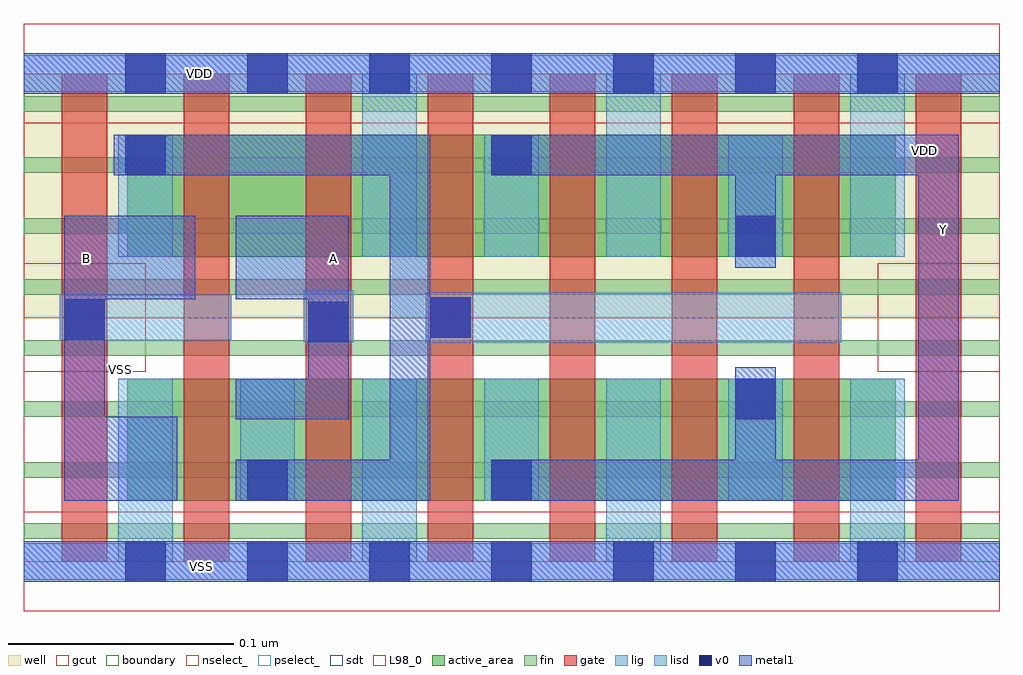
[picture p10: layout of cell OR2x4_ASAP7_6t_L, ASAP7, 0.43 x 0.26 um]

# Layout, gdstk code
import gdstk
lib = gdstk.Library(unit=1e-6, precision=2.5e-10)
def R(c, l, rs):  # rectangles x0, y0, x1, y1
    for r in rs: c.add(gdstk.rectangle(r[:2], r[2:], *l))
def A(c, l, x, y, w, h, nx, ny, dx, dy):  # array of equal rectangles
    R(c, l, [(x+i*dx, y+j*dy, x+i*dx+w, y+j*dy+h) for i in range(nx) for j in range(ny)])
def P(c, l, *ps):  # polygons
    for p in ps: c.add(gdstk.Polygon(p, *l))
well = (1, 0)
fin = (2, 0)
gate = (7, 0)
gcut = (10, 0)
active_area = (11, 0)
nselect_ = (12, 0)
pselect_ = (13, 0)
lig = (16, 0)
lisd = (17, 0)
v0 = (18, 0)
metal1 = (19, 0)
sdt = (88, 0)
L98_0 = (98, 0)
boundary = (100, 0)

or2x4_asap7_6t_l = lib.new_cell('OR2x4_ASAP7_6t_L')
R(or2x4_asap7_6t_l, well, [(0,0.108,0.432,0.216)])
A(or2x4_asap7_6t_l, fin, 0, 0.01, 0.432, 0.007, 1, 8, 0, 0.027)
A(or2x4_asap7_6t_l, gate, 0.017, 0, 0.02, 0.216, 8, 1, 0.054, 0)
R(or2x4_asap7_6t_l, gcut, [(0,-0.022,0.432,0.022), (0,0.084,0.054,0.132), (0.378,0.084,0.432,0.132), (0,0.194,0.432,0.238)])
R(or2x4_asap7_6t_l, active_area, [(0.046,0.027,0.386,0.081), (0.046,0.135,0.386,0.189)])
R(or2x4_asap7_6t_l, nselect_, [(0,0,0.432,0.108)])
R(or2x4_asap7_6t_l, pselect_, [(0,0.108,0.432,0.216)])
R(or2x4_asap7_6t_l, lig, [(0,-0.008,0.432,0.008), (0.124,0.097,0.146,0.12), (0.178,0.097,0.362,0.119), (0.016,0.098,0.092,0.118), (0,0.208,0.432,0.224)])
A(or2x4_asap7_6t_l, lisd, 0.042, 0, 0.024, 0.081, 4, 1, 0.108, 0)
A(or2x4_asap7_6t_l, lisd, 0.096, 0.027, 0.024, 0.054, 3, 1, 0.108, 0)
A(or2x4_asap7_6t_l, lisd, 0.15, 0.135, 0.024, 0.081, 3, 1, 0.108, 0)
R(or2x4_asap7_6t_l, lisd, [(0.042,0.135,0.066,0.189), (0.204,0.135,0.228,0.189), (0.312,0.135,0.336,0.189)])
A(or2x4_asap7_6t_l, v0, 0.045, -0.009, 0.018, 0.018, 7, 2, 0.054, 0.216)
R(or2x4_asap7_6t_l, v0, [(0.099,0.027,0.117,0.045), (0.207,0.027,0.225,0.045), (0.315,0.063,0.333,0.081), (0.126,0.097,0.144,0.115), (0.018,0.098,0.036,0.116), (0.18,0.099,0.198,0.117), (0.315,0.135,0.333,0.153), (0.045,0.171,0.063,0.189), (0.207,0.171,0.225,0.189)])
R(or2x4_asap7_6t_l, metal1, [(0,-0.009,0.432,0.009), (0,0.207,0.432,0.225)])
P(or2x4_asap7_6t_l, metal1, [(0.144,0.153),(0.094,0.153),(0.094,0.116),(0.126,0.116),(0.126,0.081),(0.094,0.081),(0.094,0.063),(0.144,0.063)],
  [(0.036,0.116),(0.076,0.116),(0.076,0.153),(0.018,0.153),(0.018,0.027),(0.068,0.027),(0.068,0.064),(0.036,0.064)],
  [(0.198,0.117),(0.18,0.117),(0.18,0.189),(0.04,0.189),(0.04,0.171),(0.162,0.171),(0.162,0.045),(0.094,0.045),(0.094,0.027),(0.18,0.027),(0.18,0.099),(0.198,0.099)],
  [(0.414,0.189),(0.207,0.189),(0.207,0.171),(0.315,0.171),(0.315,0.13),(0.333,0.13),(0.333,0.171),(0.396,0.171),(0.396,0.045),(0.333,0.045),(0.333,0.086),(0.315,0.086),(0.315,0.045),(0.207,0.045),(0.207,0.027),(0.414,0.027)])
A(or2x4_asap7_6t_l, sdt, 0.042, 0.027, 0.024, 0.054, 7, 1, 0.054, 0)
A(or2x4_asap7_6t_l, sdt, 0.15, 0.135, 0.024, 0.054, 5, 1, 0.054, 0)
R(or2x4_asap7_6t_l, sdt, [(0.042,0.135,0.066,0.189)])
R(or2x4_asap7_6t_l, L98_0, [(0,0,0.432,0.216)])
R(or2x4_asap7_6t_l, boundary, [(0,0,0.432,0.216)])
or2x4_asap7_6t_l.add(gdstk.Label('VDD', (0.078,0.216), layer=19, texttype=251))
or2x4_asap7_6t_l.add(gdstk.Label('VSS', (0.079,-0.002), layer=19, texttype=251))
or2x4_asap7_6t_l.add(gdstk.Label('Y', (0.407,0.147), layer=19, texttype=251))
or2x4_asap7_6t_l.add(gdstk.Label('A', (0.137,0.134), layer=19, texttype=251))
or2x4_asap7_6t_l.add(gdstk.Label('B', (0.028,0.134), layer=19, texttype=251))
or2x4_asap7_6t_l.add(gdstk.Label('VDD', (0.399,0.182), layer=1, texttype=251))
or2x4_asap7_6t_l.add(gdstk.Label('VSS', (0.043,0.085), layer=3, texttype=251))

lib.write_gds('OR2x4_ASAP7_6t_L.gds')
